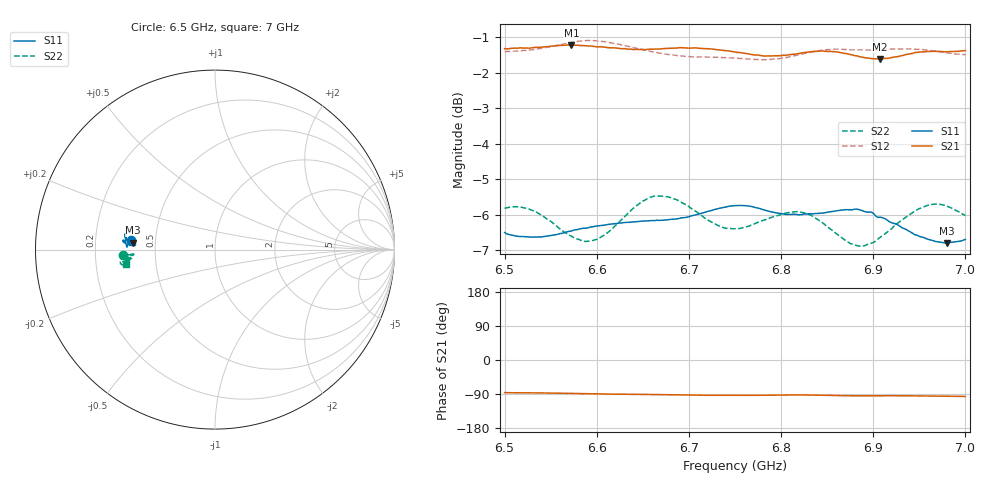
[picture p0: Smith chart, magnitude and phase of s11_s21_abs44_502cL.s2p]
! MS46122B
! 1919307/90821646
! 5/20/2022 1:06:33 PM
! C:\USERS\PC_\DESKTOP\CARACTERIZACION\MEDICIONES\BANCHA ESTRECHA\65_7GHZ\S11_S21_ABS44_502CL.S2P
! CHANNEL.1
! TR.MEASUREMENT
! CORRECTED.DATA
# GHZ S RI R 50.0
! FREQ.GHZ  S11RE  S11IM  S21RE  S21IM  S12RE  S12IM  S22RE  S22IM
!; PortSelection: Port_12
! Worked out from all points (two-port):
!   201 points, 6.5 GHz to 7 GHz, reference 50 ohm
!   highest |S21| = -1.21 dB at 6.572 GHz (marker M1); lowest = -1.6 dB at 6.907 GHz (marker M2)
!   |S21| within 3 dB of the highest: start of sweep to end of sweep
!   lowest |S11| = -6.8 dB at 6.98 GHz (marker M3), VSWR 2.69, Z = 18.6 + j1.82 ohm
!   |S11| at or under -10 dB: nowhere
!   |S22| runs from -6.9 to -5.5 dB; largest |S21 - S12| = 0.035
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6.5  -0.4701 0.0536  0.0629 -0.8572  0.0424 -0.8503  -0.5111 -0.0285
6.5175  -0.4643 0.049  0.0518 -0.8604  0.0363 -0.853  -0.5118 -0.0452
6.54  -0.4633 0.0538  0.0463 -0.8621  0.0335 -0.8598  -0.4971 -0.0586
6.5725  -0.4727 0.0507  0.0285 -0.8691  0.0265 -0.877  -0.4651 -0.0486
6.585  -0.4775 0.0455  0.0192 -0.8679  0.0209 -0.8808  -0.4586 -0.0407
6.6  -0.4819 0.0365  0.00901 -0.8644  0.0133 -0.8814  -0.4617 -0.0321
6.62  -0.4863 0.0236  -0.00231 -0.8616  0.00314 -0.8737  -0.4826 -0.0281
6.65  -0.4908 0.0145  -0.0128 -0.8568  -0.00192 -0.8565  -0.5215 -0.0504
6.6675  -0.4918 0.0171  -0.0193 -0.8582  -0.0041 -0.8473  -0.528 -0.0689
6.7  -0.4966 0.0371  -0.0363 -0.8601  -0.0121 -0.8377  -0.5075 -0.0858
6.7325  -0.5089 0.0523  -0.0496 -0.8543  -0.0285 -0.8352  -0.4794 -0.0619
6.75  -0.5138 0.0512  -0.0514 -0.8489  -0.0387 -0.8327  -0.4766 -0.0479
6.7725  -0.5109 0.0436  -0.048 -0.8404  -0.0457 -0.8287  -0.4859 -0.0436
6.8  -0.5016 0.0376  -0.0353 -0.8395  -0.0423 -0.832  -0.4981 -0.0594
6.835  -0.4984 0.0669  -0.0391 -0.8505  -0.04 -0.8507  -0.4941 -0.062
6.87  -0.502 0.0876  -0.0622 -0.844  -0.0456 -0.8561  -0.4598 -0.0333
6.8875  -0.5019 0.0805  -0.0669 -0.8337  -0.0442 -0.8548  -0.4519 -0.026
6.9075  -0.494 0.0581  -0.0634 -0.8291  -0.0434 -0.8556  -0.465 -0.0263
6.9175  -0.4877 0.0469  -0.0627 -0.8313  -0.0458 -0.8567  -0.4755 -0.0278
6.95  -0.4664 0.028  -0.0728 -0.847  -0.0588 -0.8556  -0.5089 -0.0494
6.98  -0.4559 0.0386  -0.0873 -0.8462  -0.0749 -0.8444  -0.5108 -0.0683
7  -0.461 0.0396  -0.0915 -0.8494  -0.0802 -0.839  -0.4936 -0.0788
